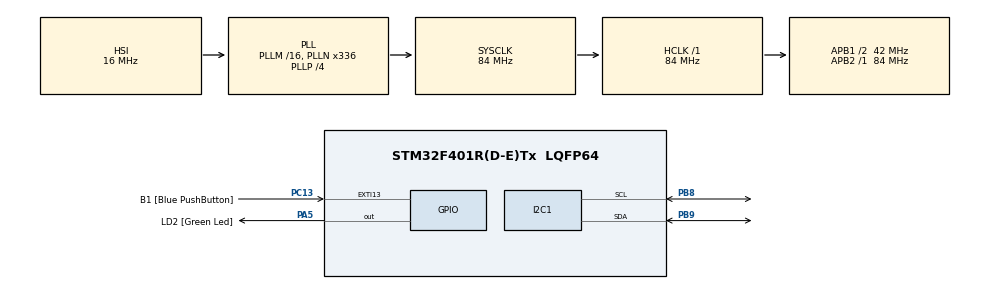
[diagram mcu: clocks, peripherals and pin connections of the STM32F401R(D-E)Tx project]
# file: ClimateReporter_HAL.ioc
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Mcu.Family=STM32F4
Mcu.Name=STM32F401R(D-E)Tx
Mcu.Package=LQFP64
NVIC.PriorityGroup=NVIC_PRIORITYGROUP_0
PA13.GPIO_Label=TMS
PA13.Signal=SYS_JTMS-SWDIO
PA14.GPIO_Label=TCK
PA14.Signal=SYS_JTCK-SWCLK
PA2.GPIO_Label=USART_TX
PA2.GPIO_Mode=GPIO_MODE_AF_PP
PA2.GPIO_PuPd=GPIO_NOPULL
PA2.GPIO_Speed=GPIO_SPEED_FREQ_LOW
PA2.Signal=USART2_TX
PA3.GPIO_Label=USART_RX
PA3.GPIO_Mode=GPIO_MODE_AF_PP
PA3.GPIO_PuPd=GPIO_NOPULL
PA3.GPIO_Speed=GPIO_SPEED_FREQ_LOW
PA3.Signal=USART2_RX
PA5.GPIO_Label=LD2 [Green Led]
PA5.GPIO_Mode=GPIO_MODE_OUTPUT_PP
PA5.GPIO_PuPd=GPIO_NOPULL
PA5.GPIO_Speed=GPIO_SPEED_FREQ_LOW
PA5.Signal=GPIO_Output
PB3.GPIO_Label=SWO
PB3.Signal=SYS_JTDO-SWO
PB8.Mode=I2C
PB8.Signal=I2C1_SCL
PB9.Mode=I2C
PB9.Signal=I2C1_SDA
PC13-ANTI_TAMP.GPIO_Label=B1 [Blue PushButton]
PC13-ANTI_TAMP.GPIO_ModeDefaultEXTI=GPIO_MODE_IT_FALLING
PC13-ANTI_TAMP.GPIO_PuPd=GPIO_NOPULL
PC13-ANTI_TAMP.Signal=GPXTI13
PC14-OSC32_IN.Signal=RCC_OSC32_IN
PC15-OSC32_OUT.Signal=RCC_OSC32_OUT
PH0\ -\ OSC_IN.Signal=RCC_OSC_IN
PH1\ -\ OSC_OUT.Signal=RCC_OSC_OUT
ProjectManager.HeapSize=0x200
ProjectManager.StackSize=0x400
ProjectManager.TargetToolchain=STM32CubeIDE
RCC.AHBFreq_Value=84000000
RCC.APB1CLKDivider=RCC_HCLK_DIV2
RCC.APB1Freq_Value=42000000
RCC.APB1TimFreq_Value=84000000
RCC.APB2Freq_Value=84000000
RCC.APB2TimFreq_Value=84000000
RCC.CortexFreq_Value=84000000
RCC.HCLKFreq_Value=84000000
RCC.HSE_VALUE=8000000
RCC.HSI_VALUE=16000000
RCC.LSE_VALUE=32768
RCC.PLLN=336
RCC.PLLP=RCC_PLLP_DIV4
RCC.PLLQ=7
RCC.SYSCLKFreq_VALUE=84000000
RCC.SYSCLKSource=RCC_SYSCLKSOURCE_PLLCLK
RCC.VCOOutputFreq_Value=336000000
board=NUCLEO-F401RE

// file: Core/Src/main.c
/* USER CODE BEGIN Header */
/**
  ******************************************************************************
  * @file           : main.c
  * @brief          : Main program body
  ******************************************************************************
  * @attention
  *
  * Copyright (c) 2026 STMicroelectronics.
  * All rights reserved.
  *
  * This software is licensed under terms that can be found in the LICENSE file
  * in the root directory of this software component.
  * If no LICENSE file comes with this software, it is provided AS-IS.
  *
  ******************************************************************************
  */
/* USER CODE END Header */
#include "main.h"
#include "display.h"
#include <stdio.h>
#include "bme280.h"
#include "bme280_defs.h"
#include "measurements.h"
#include <string.h>

I2C_HandleTypeDef hi2c1;

void SystemClock_Config(void);
static void MX_GPIO_Init(void);
static void MX_I2C1_Init(void);

int main(void)
{

  /* MCU Configuration--------------------------------------------------------*/

  /* Reset of all peripherals, Initializes the Flash interface and the Systick. */
  HAL_Init();

  /* Configure the system clock */
  SystemClock_Config();

  /* Initialize all configured peripherals */
  MX_GPIO_Init();
  MX_I2C1_Init();
  /* USER CODE BEGIN 2 */
  displayInit(&hi2c1);
  displayClear(&hi2c1);

  char title1[] = "Callums Environment";
  char title2[] = "Data Reporter";
  char tempAnnounce[] = "Temperature:";
  char humidAnnounce[] = "Humidity:";
  char pressAnnounce[] = "Pressure:";
  setPage(&hi2c1,0,0);
  setColumns(&hi2c1,5,127);
  writeTextToDisplay(&hi2c1,title1);

  setPage(&hi2c1,1,1);
  setColumns(&hi2c1,23,127);
  writeTextToDisplay(&hi2c1,title2);

  setPage(&hi2c1,2,2);
  setColumns(&hi2c1,0,90);
  writeTextToDisplay(&hi2c1,tempAnnounce);

  setPage(&hi2c1,4,4);
  setColumns(&hi2c1,18,90);
  writeTextToDisplay(&hi2c1,humidAnnounce);

  setPage(&hi2c1,6,6);
  setColumns(&hi2c1,18,90);
  writeTextToDisplay(&hi2c1,pressAnnounce);

  HAL_I2C_SlaveRxCpltCallback(&hi2c1);

  BME280_Calib_t calib;
  HAL_Delay(1000);

  bme280Init(&hi2c1);
  bme280Calibration(&hi2c1,&calib);

  /* USER CODE END 2 */

  /* Infinite loop */
  while (1)
  {

    /* USER CODE BEGIN 3 */
	char tempOut[12];
	char humOut[15];
	char pressOut[15];
	uint8_t readBuffer[16];
	bme280Read(&hi2c1,readBuffer);
	HAL_Delay(10);
	formatMeasurements(&calib,readBuffer,tempOut,pressOut,humOut);
	setPage(&hi2c1,3,3);
	setColumns(&hi2c1,60,126);
	writeTextToDisplay(&hi2c1,tempOut);
	HAL_Delay(100);
	setPage(&hi2c1,5,5);
	setColumns(&hi2c1,60,126);
	writeTextToDisplay(&hi2c1,humOut);
	HAL_Delay(100);
	setPage(&hi2c1,7,7);
	setColumns(&hi2c1,55,126);
	writeTextToDisplay(&hi2c1,pressOut);
	HAL_Delay(100);

  }
  /* USER CODE END 3 */
}

void SystemClock_Config(void)
{
  RCC_OscInitTypeDef RCC_OscInitStruct = {0};
  RCC_ClkInitTypeDef RCC_ClkInitStruct = {0};

  /** Configure the main internal regulator output voltage
  */
  __HAL_RCC_PWR_CLK_ENABLE();
  __HAL_PWR_VOLTAGESCALING_CONFIG(PWR_REGULATOR_VOLTAGE_SCALE2);

  /** Initializes the RCC Oscillators according to the specified parameters
  * in the RCC_OscInitTypeDef structure.
  */
  RCC_OscInitStruct.OscillatorType = RCC_OSCILLATORTYPE_HSI;
  RCC_OscInitStruct.HSIState = RCC_HSI_ON;
  RCC_OscInitStruct.HSICalibrationValue = RCC_HSICALIBRATION_DEFAULT;
  RCC_OscInitStruct.PLL.PLLState = RCC_PLL_ON;
  RCC_OscInitStruct.PLL.PLLSource = RCC_PLLSOURCE_HSI;
  RCC_OscInitStruct.PLL.PLLM = 16;
  RCC_OscInitStruct.PLL.PLLN = 336;
  RCC_OscInitStruct.PLL.PLLP = RCC_PLLP_DIV4;
  RCC_OscInitStruct.PLL.PLLQ = 7;
  if (HAL_RCC_OscConfig(&RCC_OscInitStruct) != HAL_OK)
  {
    Error_Handler();
  }

  /** Initializes the CPU, AHB and APB buses clocks
  */
  RCC_ClkInitStruct.ClockType = RCC_CLOCKTYPE_HCLK|RCC_CLOCKTYPE_SYSCLK
                              |RCC_CLOCKTYPE_PCLK1|RCC_CLOCKTYPE_PCLK2;
  RCC_ClkInitStruct.SYSCLKSource = RCC_SYSCLKSOURCE_PLLCLK;
  RCC_ClkInitStruct.AHBCLKDivider = RCC_SYSCLK_DIV1;
  RCC_ClkInitStruct.APB1CLKDivider = RCC_HCLK_DIV2;
  RCC_ClkInitStruct.APB2CLKDivider = RCC_HCLK_DIV1;

  if (HAL_RCC_ClockConfig(&RCC_ClkInitStruct, FLASH_LATENCY_2) != HAL_OK)
  {
    Error_Handler();
  }
}

static void MX_I2C1_Init(void)
{

  hi2c1.Instance = I2C1;
  hi2c1.Init.ClockSpeed = 100000;
  hi2c1.Init.DutyCycle = I2C_DUTYCYCLE_2;
  hi2c1.Init.OwnAddress1 = 0;
  hi2c1.Init.AddressingMode = I2C_ADDRESSINGMODE_7BIT;
  hi2c1.Init.DualAddressMode = I2C_DUALADDRESS_DISABLE;
  hi2c1.Init.OwnAddress2 = 0;
  hi2c1.Init.GeneralCallMode = I2C_GENERALCALL_DISABLE;
  hi2c1.Init.NoStretchMode = I2C_NOSTRETCH_DISABLE;
  if (HAL_I2C_Init(&hi2c1) != HAL_OK)
  {
    Error_Handler();
  }

}

static void MX_GPIO_Init(void)
{
  GPIO_InitTypeDef GPIO_InitStruct = {0};

  /* GPIO Ports Clock Enable */
  __HAL_RCC_GPIOC_CLK_ENABLE();
  __HAL_RCC_GPIOH_CLK_ENABLE();
  __HAL_RCC_GPIOA_CLK_ENABLE();
  __HAL_RCC_GPIOB_CLK_ENABLE();

  /*Configure GPIO pin Output Level */
  HAL_GPIO_WritePin(LD2_GPIO_Port, LD2_Pin, GPIO_PIN_RESET);

  /*Configure GPIO pin : B1_Pin */
  GPIO_InitStruct.Pin = B1_Pin;
  GPIO_InitStruct.Mode = GPIO_MODE_IT_FALLING;
  GPIO_InitStruct.Pull = GPIO_NOPULL;
  HAL_GPIO_Init(B1_GPIO_Port, &GPIO_InitStruct);

  /*Configure GPIO pins : USART_TX_Pin USART_RX_Pin */
  GPIO_InitStruct.Pin = USART_TX_Pin|USART_RX_Pin;
  GPIO_InitStruct.Mode = GPIO_MODE_AF_PP;
  GPIO_InitStruct.Pull = GPIO_NOPULL;
  GPIO_InitStruct.Speed = GPIO_SPEED_FREQ_LOW;
  GPIO_InitStruct.Alternate = GPIO_AF7_USART2;
  HAL_GPIO_Init(GPIOA, &GPIO_InitStruct);

  /*Configure GPIO pin : LD2_Pin */
  GPIO_InitStruct.Pin = LD2_Pin;
  GPIO_InitStruct.Mode = GPIO_MODE_OUTPUT_PP;
  GPIO_InitStruct.Pull = GPIO_NOPULL;
  GPIO_InitStruct.Speed = GPIO_SPEED_FREQ_LOW;
  HAL_GPIO_Init(LD2_GPIO_Port, &GPIO_InitStruct);

}

void Error_Handler(void)
{
  __disable_irq();
  while (1)
  {
  }
}
